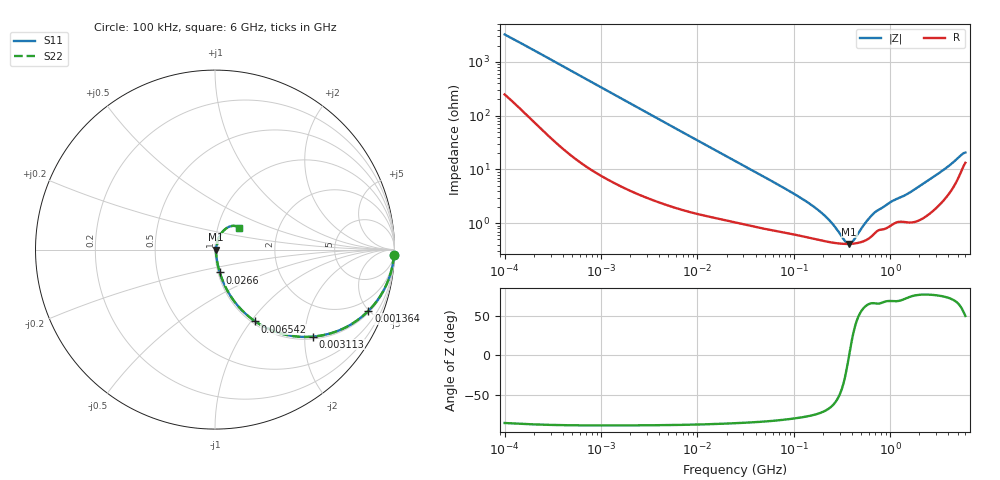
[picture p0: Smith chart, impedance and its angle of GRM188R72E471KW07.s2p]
!Murata Part Number: GRM188R72E471KW07
!These Parameters are Measured in Series Mode Connection
!Data Generated on Mar 30, 2021
!  o--ll--o
!Port1  Port2
!  o------o
!Operation Temp=25[degC], DC Bias Voltage=0[V]
!Freq. Start=100[kHz] Stop=6[GHz] 401[Steps]
# Hz S RI R 50
!Freq.(Hz) S11(Real) S11(Imag) S21(Real) S21(Imag) S12(Real) S12(Imag) S22(Real) S22(Imag)
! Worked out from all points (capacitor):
!   401 points, 100 kHz to 6 GHz, reference 50 ohm
!   read as one part in series: C = 486 pF near 105.7 kHz
!   lowest |Z| = 412 mohm at 373 MHz (marker M1)
!   series resonance near 373.8 MHz, so ESL is about 370 pH
!   S11 on the Smith chart (normalised r, x): 100 kHz: 6, -65; 1.364 MHz: 1.11, -4.95; 3.113 MHz: 1.06, -2.19; 6.542 MHz: 1.04, -1.05; 26.6 MHz: 1.02, -0.26; 6 GHz: 1.27, +0.31
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100000  0.9967 -0.0306  0.0033 0.0306  0.0033 0.0306  0.9967 -0.0306
284397  0.9898 -0.0841  0.0102 0.0841  0.0102 0.0841  0.9898 -0.0841
631452  0.9618 -0.1801  0.0382 0.1801  0.0382 0.1801  0.9618 -0.1801
1363989  0.8543 -0.3417  0.1457 0.3417  0.1457 0.3417  0.8543 -0.3417
2004685  0.7362 -0.429  0.2638 0.429  0.2638 0.429  0.7362 -0.429
3112951  0.544 -0.4851  0.456 0.4851  0.456 0.4851  0.544 -0.4851
3987316  0.4256 -0.4804  0.5744 0.4804  0.5744 0.4804  0.4256 -0.4804
6541803  0.2244 -0.4002  0.7756 0.4002  0.7756 0.4002  0.2244 -0.4002
1.165602e7  0.0918 -0.2663  0.9082 0.2663  0.9082 0.2663  0.0918 -0.2663
2.517799e7  0.0287 -0.1343  0.9713 0.1343  0.9713 0.1343  0.0287 -0.1343
2.660184e7  0.0266 -0.1275  0.9734 0.1275  0.9734 0.1275  0.0266 -0.1275
8.44535e7  0.0082 -0.041  0.9918 0.041  0.9918 0.041  0.0082 -0.041
1.546735e8  0.00559 -0.0204  0.9944 0.0204  0.9944 0.0204  0.00559 -0.0204
2.273271e8  0.00458 -0.0109  0.9954 0.0109  0.9954 0.0109  0.00458 -0.0109
3.341077e8  0.00411 -0.00243  0.9959 0.00243  0.9959 0.00243  0.00411 -0.00243
3.72965e8  0.0041 -4.78e-05  0.9959 4.78e-05  0.9959 4.78e-05  0.0041 -4.78e-05
4.163414e8  0.00416 0.00236  0.9958 -0.00236  0.9958 -0.00236  0.00416 0.00236
6.465106e8  0.00594 0.0128  0.9941 -0.0128  0.9941 -0.0128  0.00594 0.0128
9.76689e8  0.00908 0.0219  0.9909 -0.0219  0.9909 -0.0219  0.00908 0.0219
1.558934e9  0.0114 0.0342  0.9886 -0.0342  0.9886 -0.0342  0.0114 0.0342
3.461335e9  0.032 0.0861  0.968 -0.0861  0.968 -0.0861  0.032 0.0861
6e9  0.134 0.1202  0.866 -0.1202  0.866 -0.1202  0.134 0.1202
